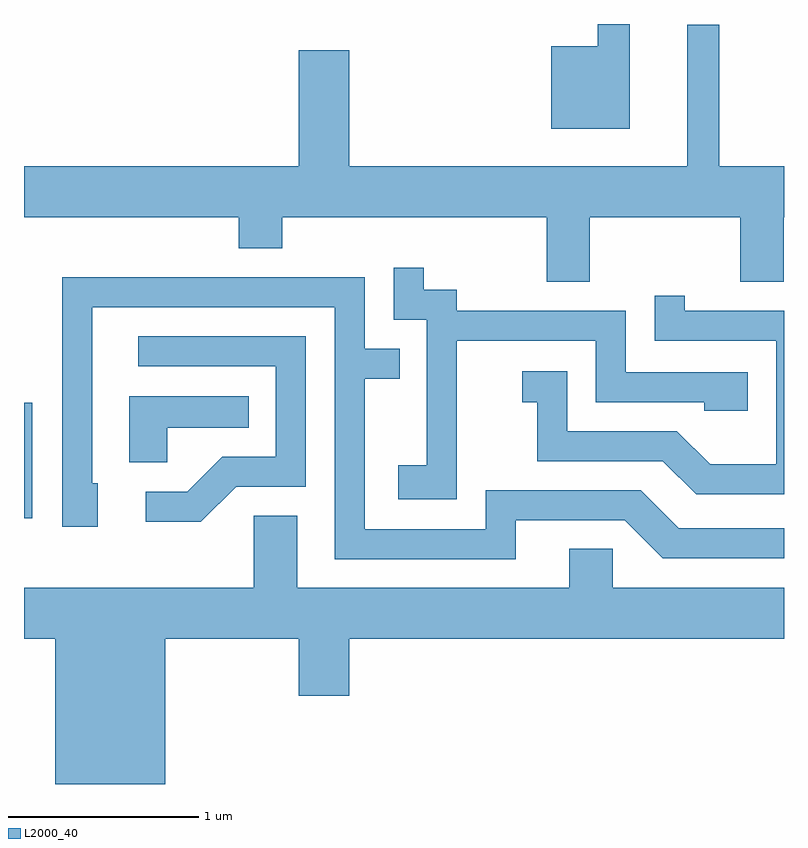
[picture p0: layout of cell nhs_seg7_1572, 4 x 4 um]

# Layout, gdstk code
import gdstk
lib = gdstk.Library(unit=1e-6, precision=1e-09)
def R(c, l, rs):  # rectangles x0, y0, x1, y1
    for r in rs: c.add(gdstk.rectangle(r[:2], r[2:], *l))
def P(c, l, *ps):  # polygons
    for p in ps: c.add(gdstk.Polygon(p, *l))
L2000_40 = (2000, 40)

nhs_seg7_1572 = lib.new_cell('nhs_seg7_1572')
R(nhs_seg7_1572, L2000_40, [(233.611,1681.651,233.654,1682.258)])
P(nhs_seg7_1572, L2000_40, [(236.799,1684.252),(236.631,1684.252),(236.631,1684.134),(236.386,1684.134),(236.386,1683.701),(236.799,1683.701)],
  [(236.589,1683.236),(237.381,1683.236),(237.381,1682.896),(237.609,1682.896),(237.609,1683.236),(237.611,1683.236),(237.611,1683.504),(237.269,1683.504),(237.269,1684.248),(237.101,1684.248),(237.101,1683.504),(235.324,1683.504),(235.324,1684.114),(235.056,1684.114),(235.056,1683.504),(233.611,1683.504),(233.611,1683.236),(234.741,1683.236),(234.741,1683.071),(234.969,1683.071),(234.969,1683.236),(236.361,1683.236),(236.361,1682.896),(236.589,1682.896)],
  [(235.889,1682.586),(236.621,1682.586),(236.621,1682.261),(237.191,1682.261),(237.191,1682.216),(237.419,1682.216),(237.419,1682.419),(236.779,1682.419),(236.779,1682.744),(235.889,1682.744),(235.889,1682.854),(235.714,1682.854),(235.714,1682.968),(235.556,1682.968),(235.556,1682.696),(235.731,1682.696),(235.731,1681.929),(235.581,1681.929),(235.581,1681.751),(235.889,1681.751)],
  [(236.199,1681.641),(236.774,1681.641),(236.974,1681.441),(237.611,1681.441),(237.611,1681.599),(237.057,1681.599),(236.857,1681.799),(236.041,1681.799),(236.041,1681.594),(235.404,1681.594),(235.404,1682.386),(235.588,1682.386),(235.588,1682.544),(235.404,1682.544),(235.404,1682.919),(233.811,1682.919),(233.811,1681.606),(233.999,1681.606),(233.999,1681.834),(233.969,1681.834),(233.969,1682.761),(235.246,1682.761),(235.246,1681.436),(236.199,1681.436)],
  [(237.611,1682.744),(237.089,1682.744),(237.089,1682.823),(236.931,1682.823),(236.931,1682.586),(237.571,1682.586),(237.571,1681.934),(237.222,1681.934),(237.047,1682.109),(236.469,1682.109),(236.469,1682.424),(236.233,1682.424),(236.233,1682.261),(236.311,1682.261),(236.311,1681.951),(236.974,1681.951),(237.149,1681.776),(237.611,1681.776)],
  [(234.727,1681.816),(235.094,1681.816),(235.094,1682.609),(234.213,1682.609),(234.213,1682.451),(234.936,1682.451),(234.936,1681.974),(234.654,1681.974),(234.469,1681.789),(234.253,1681.789),(234.253,1681.631),(234.542,1681.631)],
  [(234.364,1682.126),(234.793,1682.126),(234.793,1682.294),(234.166,1682.294),(234.166,1681.946),(234.364,1681.946)],
  [(234.354,1681.016),(235.056,1681.016),(235.056,1680.716),(235.324,1680.716),(235.324,1681.016),(237.611,1681.016),(237.611,1681.284),(236.709,1681.284),(236.709,1681.489),(236.481,1681.489),(236.481,1681.284),(235.049,1681.284),(235.049,1681.664),(234.821,1681.664),(234.821,1681.284),(233.611,1681.284),(233.611,1681.016),(233.776,1681.016),(233.776,1680.252),(234.354,1680.252)])

lib.write_gds('nhs_seg7_1572.gds')
